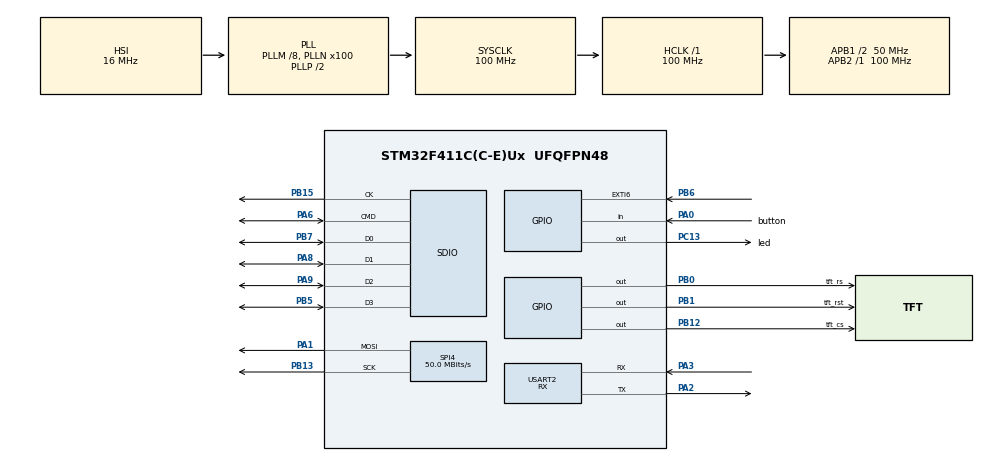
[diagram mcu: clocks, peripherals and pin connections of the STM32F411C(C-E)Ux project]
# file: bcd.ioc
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Dma.Request0=SPI4_TX
Dma.SPI4_TX.0.Direction=DMA_MEMORY_TO_PERIPH
Dma.SPI4_TX.0.FIFOMode=DMA_FIFOMODE_DISABLE
Dma.SPI4_TX.0.Instance=DMA2_Stream1
Dma.SPI4_TX.0.MemDataAlignment=DMA_MDATAALIGN_BYTE
Dma.SPI4_TX.0.MemInc=DMA_MINC_ENABLE
Dma.SPI4_TX.0.Mode=DMA_NORMAL
Dma.SPI4_TX.0.PeriphDataAlignment=DMA_PDATAALIGN_BYTE
Dma.SPI4_TX.0.PeriphInc=DMA_PINC_DISABLE
Dma.SPI4_TX.0.Priority=DMA_PRIORITY_LOW
FATFS._FS_EXFAT=1
FATFS._USE_LFN=1
Mcu.Family=STM32F4
Mcu.Name=STM32F411C(C-E)Ux
Mcu.Package=UFQFPN48
NVIC.DMA2_Stream1_IRQn=true\:0\:0\:false\:false\:true\:false\:true\:true
NVIC.EXTI9_5_IRQn=true\:0\:0\:false\:false\:true\:true\:true\:true
NVIC.PriorityGroup=NVIC_PRIORITYGROUP_4
PA0-WKUP.GPIO_Label=button
PA0-WKUP.GPIO_PuPd=GPIO_PULLUP
PA0-WKUP.Signal=GPIO_Input
PA1.Mode=TX_Only_Simplex_Unidirect_Master
PA1.Signal=SPI4_MOSI
PA13.Mode=Serial_Wire
PA13.Signal=SYS_JTMS-SWDIO
PA14.Mode=Serial_Wire
PA14.Signal=SYS_JTCK-SWCLK
PA2.Mode=Asynchronous
PA2.Signal=USART2_TX
PA3.Mode=Asynchronous
PA3.Signal=USART2_RX
PA6.Mode=SD_4_bits_Wide_bus
PA6.Signal=SDIO_CMD
PA8.Mode=SD_4_bits_Wide_bus
PA8.Signal=SDIO_D1
PA9.Mode=SD_4_bits_Wide_bus
PA9.Signal=SDIO_D2
PB0.GPIO_Label=tft_rs
PB0.Signal=GPIO_Output
PB1.GPIO_Label=tft_rst
PB1.Signal=GPIO_Output
PB12.GPIO_Label=tft_cs
PB12.Signal=GPIO_Output
PB13.Mode=TX_Only_Simplex_Unidirect_Master
PB13.Signal=SPI4_SCK
PB15.Mode=SD_4_bits_Wide_bus
PB15.Signal=SDIO_CK
PB5.Mode=SD_4_bits_Wide_bus
PB5.Signal=SDIO_D3
PB6.Signal=GPXTI6
PB7.Mode=SD_4_bits_Wide_bus
PB7.Signal=SDIO_D0
PC13-ANTI_TAMP.GPIO_Label=led
PC13-ANTI_TAMP.Signal=GPIO_Output
PC14-OSC32_IN.Mode=LSE-External-Oscillator
PC14-OSC32_IN.Signal=RCC_OSC32_IN
PC15-OSC32_OUT.Mode=LSE-External-Oscillator
PC15-OSC32_OUT.Signal=RCC_OSC32_OUT
PH0\ -\ OSC_IN.Mode=HSE-External-Oscillator
PH0\ -\ OSC_IN.Signal=RCC_OSC_IN
PH1\ -\ OSC_OUT.Mode=HSE-External-Oscillator
PH1\ -\ OSC_OUT.Signal=RCC_OSC_OUT
ProjectManager.HeapSize=0x200
ProjectManager.StackSize=0x400
ProjectManager.TargetToolchain=STM32CubeIDE
RCC.48MHZClocksFreq_Value=40000000
RCC.AHBFreq_Value=100000000
RCC.APB1CLKDivider=RCC_HCLK_DIV2
RCC.APB1Freq_Value=50000000
RCC.APB1TimFreq_Value=100000000
RCC.APB2Freq_Value=100000000
RCC.APB2TimFreq_Value=100000000
RCC.CortexFreq_Value=100000000
RCC.HCLKFreq_Value=100000000
RCC.HSE_VALUE=25000000
RCC.HSI_VALUE=16000000
RCC.PLLM=8
RCC.PLLN=100
RCC.PLLQ=5
RCC.SYSCLKFreq_VALUE=100000000
RCC.SYSCLKSource=RCC_SYSCLKSOURCE_PLLCLK
RCC.VCOOutputFreq_Value=200000000
SDIO.ClockBypass=SDIO_CLOCK_BYPASS_DISABLE
SDIO.ClockDiv=8
SPI4.BaudRatePrescaler=SPI_BAUDRATEPRESCALER_2
SPI4.CalculateBaudRate=50.0 MBits/s
SPI4.DataSize=SPI_DATASIZE_8BIT
SPI4.Direction=SPI_DIRECTION_2LINES
SPI4.Mode=SPI_MODE_MASTER
SPI4.VirtualType=VM_MASTER
USART2.Mode=MODE_RX
USART2.VirtualMode=VM_ASYNC
VP_FATFS_VS_SDIO.Mode=SDIO
board=custom

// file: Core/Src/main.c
/* USER CODE BEGIN Header */
/**
  ******************************************************************************
  * @file           : main.c
  * @brief          : Main program body
  ******************************************************************************
  * @attention
  *
  * Copyright (c) 2025 STMicroelectronics.
  * All rights reserved.
  *
  * This software is licensed under terms that can be found in the LICENSE file
  * in the root directory of this software component.
  * If no LICENSE file comes with this software, it is provided AS-IS.
  *
  ******************************************************************************
  */
/* USER CODE END Header */
#include "main.h"
#include "fatfs.h"

/* USER CODE BEGIN Includes */
#include "SEGGER_RTT.h"
#include "st7735.h"
#include "fonts.h"
#include "testimg.h"
#include <string.h>
/* USER CODE END Includes */

/* USER CODE BEGIN PD */
#define CYCLE_MAX_NUM_FILES 10
#define CYCLE_MAX_FILE_NAME 255

/* USER CODE END PD */

SD_HandleTypeDef hsd;

SPI_HandleTypeDef hspi4;
DMA_HandleTypeDef hdma_spi4_tx;

UART_HandleTypeDef huart2;

void SystemClock_Config(void);
static void MX_GPIO_Init(void);
static void MX_DMA_Init(void);
static void MX_SDIO_SD_Init(void);
static void MX_SPI4_Init(void);
static void MX_USART2_UART_Init(void);

/* USER CODE BEGIN 0 */
uint8_t BSP_SD_IsDetected(void)
{
  return SD_PRESENT;
}

volatile bool drawing_in_progress = false;
void HAL_SPI_TxCpltCallback(SPI_HandleTypeDef *hspi)
{
  drawing_in_progress = false;

#define ST7735_CS_Pin        GPIO_PIN_12
#define ST7735_CS_GPIO_Port  GPIOB
  HAL_GPIO_WritePin(ST7735_CS_GPIO_Port, ST7735_CS_Pin, GPIO_PIN_SET);
}

bool isButtonPressed()
{
  /* active low, pulled up */
  if (HAL_GPIO_ReadPin( GPIOA, GPIO_PIN_0 ) == GPIO_PIN_SET )
  {
    return false;

  }
  else
  {
    return true;
  }
}

/* USER CODE END 0 */

int main(void)
{

  /* USER CODE BEGIN 1 */
  SEGGER_RTT_ConfigUpBuffer(0, NULL, NULL, 0, SEGGER_RTT_MODE_NO_BLOCK_SKIP);

  SEGGER_RTT_printf(0, "Starting...\r\n");
  SEGGER_RTT_printf(0, "HAL_Init....");
  /* USER CODE END 1 */

  /* MCU Configuration--------------------------------------------------------*/

  /* Reset of all peripherals, Initializes the Flash interface and the Systick. */
  HAL_Init();

  /* USER CODE BEGIN Init */
  SEGGER_RTT_printf(0, "Done\r\n");
  SEGGER_RTT_printf(0, "SystemClock_Config....");
  /* USER CODE END 1 */
  /* USER CODE END 1 */

  /* USER CODE END Init */

  /* Configure the system clock */
  SystemClock_Config();

  /* USER CODE BEGIN SysInit */
  SEGGER_RTT_printf(0, "Done\r\n");
  SEGGER_RTT_printf(0, "Peripherals....");

  /* USER CODE END SysInit */

  /* Initialize all configured peripherals */
  MX_GPIO_Init();
  MX_DMA_Init();
  MX_SDIO_SD_Init();
  MX_FATFS_Init();
  MX_SPI4_Init();
  MX_USART2_UART_Init();
  /* USER CODE BEGIN 2 */

  SEGGER_RTT_printf(0, "Done\r\n");

  /* USER CODE END 2 */

  /* Infinite loop */
  /* USER CODE BEGIN WHILE */
  while (1)
  {
    app();
    /* USER CODE END WHILE */

    /* USER CODE BEGIN 3 */

  /* detect press event */

  /* service button press event */
  /* make sure */

  //ST7735_DrawImage(0, 0, 160, 128, (uint16_t*)(buf[buf_swap]));
  //SEGGER_RTT_printf(0, "f%dms\r\n", HAL_GetTick() - start_ms );
  // frame render is 20ms
  //buf_swap = (buf_swap + 1) % 2;
  //total_frames++;

    /* 1s task */
    //if( ( time_ms - last_toggle_ms) >= blink_duration_ms )
    //{
	   // HAL_GPIO_TogglePin(GPIOC, GPIO_PIN_13);
	   // //SEGGER_RTT_printf(0, "HELLO WORLD %d\r\n", time_ms);
    //  SEGGER_RTT_printf(0, "%uFPS\r\n", total_frames - last_total_frames);
    //  SEGGER_RTT_printf(0, "Read %uKBps\r\n", (bytes_read - last_bytes_read)/1000);
    //  last_toggle_ms = time_ms;
    //  last_bytes_read = bytes_read;
    //  last_total_frames = total_frames;
    //}
  }
  /* USER CODE END 3 */
}

void SystemClock_Config(void)
{
  RCC_OscInitTypeDef RCC_OscInitStruct = {0};
  RCC_ClkInitTypeDef RCC_ClkInitStruct = {0};

  /** Configure the main internal regulator output voltage
  */
  __HAL_RCC_PWR_CLK_ENABLE();
  __HAL_PWR_VOLTAGESCALING_CONFIG(PWR_REGULATOR_VOLTAGE_SCALE1);

  /** Initializes the RCC Oscillators according to the specified parameters
  * in the RCC_OscInitTypeDef structure.
  */
  RCC_OscInitStruct.OscillatorType = RCC_OSCILLATORTYPE_HSI;
  RCC_OscInitStruct.HSIState = RCC_HSI_ON;
  RCC_OscInitStruct.HSICalibrationValue = RCC_HSICALIBRATION_DEFAULT;
  RCC_OscInitStruct.PLL.PLLState = RCC_PLL_ON;
  RCC_OscInitStruct.PLL.PLLSource = RCC_PLLSOURCE_HSI;
  RCC_OscInitStruct.PLL.PLLM = 8;
  RCC_OscInitStruct.PLL.PLLN = 100;
  RCC_OscInitStruct.PLL.PLLP = RCC_PLLP_DIV2;
  RCC_OscInitStruct.PLL.PLLQ = 5;
  if (HAL_RCC_OscConfig(&RCC_OscInitStruct) != HAL_OK)
  {
    Error_Handler();
  }

  /** Initializes the CPU, AHB and APB buses clocks
  */
  RCC_ClkInitStruct.ClockType = RCC_CLOCKTYPE_HCLK|RCC_CLOCKTYPE_SYSCLK
                              |RCC_CLOCKTYPE_PCLK1|RCC_CLOCKTYPE_PCLK2;
  RCC_ClkInitStruct.SYSCLKSource = RCC_SYSCLKSOURCE_PLLCLK;
  RCC_ClkInitStruct.AHBCLKDivider = RCC_SYSCLK_DIV1;
  RCC_ClkInitStruct.APB1CLKDivider = RCC_HCLK_DIV2;
  RCC_ClkInitStruct.APB2CLKDivider = RCC_HCLK_DIV1;

  if (HAL_RCC_ClockConfig(&RCC_ClkInitStruct, FLASH_LATENCY_3) != HAL_OK)
  {
    Error_Handler();
  }
}

static void MX_SDIO_SD_Init(void)
{

  hsd.Instance = SDIO;
  hsd.Init.ClockEdge = SDIO_CLOCK_EDGE_RISING;
  hsd.Init.ClockBypass = SDIO_CLOCK_BYPASS_DISABLE;
  hsd.Init.ClockPowerSave = SDIO_CLOCK_POWER_SAVE_DISABLE;
  hsd.Init.BusWide = SDIO_BUS_WIDE_4B;
  hsd.Init.HardwareFlowControl = SDIO_HARDWARE_FLOW_CONTROL_DISABLE;
  hsd.Init.ClockDiv = 8;
  /* USER CODE BEGIN SDIO_Init 2 */
  hsd.Init.BusWide = SDIO_BUS_WIDE_1B;
  if (HAL_SD_Init(&hsd) != HAL_OK ){
    Error_Handler();
  }

  if ( HAL_SD_ConfigWideBusOperation(&hsd, SDIO_BUS_WIDE_4B)!= HAL_OK)
  {
    Error_Handler();
  }

  /* USER CODE END SDIO_Init 2 */

}

static void MX_SPI4_Init(void)
{

  /* SPI4 parameter configuration*/
  hspi4.Instance = SPI4;
  hspi4.Init.Mode = SPI_MODE_MASTER;
  hspi4.Init.Direction = SPI_DIRECTION_2LINES;
  hspi4.Init.DataSize = SPI_DATASIZE_8BIT;
  hspi4.Init.CLKPolarity = SPI_POLARITY_LOW;
  hspi4.Init.CLKPhase = SPI_PHASE_1EDGE;
  hspi4.Init.NSS = SPI_NSS_SOFT;
  hspi4.Init.BaudRatePrescaler = SPI_BAUDRATEPRESCALER_2;
  hspi4.Init.FirstBit = SPI_FIRSTBIT_MSB;
  hspi4.Init.TIMode = SPI_TIMODE_DISABLE;
  hspi4.Init.CRCCalculation = SPI_CRCCALCULATION_DISABLE;
  hspi4.Init.CRCPolynomial = 10;
  if (HAL_SPI_Init(&hspi4) != HAL_OK)
  {
    Error_Handler();
  }

}

static void MX_USART2_UART_Init(void)
{

  huart2.Instance = USART2;
  huart2.Init.BaudRate = 115200;
  huart2.Init.WordLength = UART_WORDLENGTH_8B;
  huart2.Init.StopBits = UART_STOPBITS_1;
  huart2.Init.Parity = UART_PARITY_NONE;
  huart2.Init.Mode = UART_MODE_RX;
  huart2.Init.HwFlowCtl = UART_HWCONTROL_NONE;
  huart2.Init.OverSampling = UART_OVERSAMPLING_16;
  if (HAL_UART_Init(&huart2) != HAL_OK)
  {
    Error_Handler();
  }

}

static void MX_DMA_Init(void)
{

  /* DMA controller clock enable */
  __HAL_RCC_DMA2_CLK_ENABLE();

  /* DMA interrupt init */
  /* DMA2_Stream1_IRQn interrupt configuration */
  HAL_NVIC_SetPriority(DMA2_Stream1_IRQn, 0, 0);
  HAL_NVIC_EnableIRQ(DMA2_Stream1_IRQn);

}

static void MX_GPIO_Init(void)
{
  GPIO_InitTypeDef GPIO_InitStruct = {0};

  /* GPIO Ports Clock Enable */
  __HAL_RCC_GPIOC_CLK_ENABLE();
  __HAL_RCC_GPIOH_CLK_ENABLE();
  __HAL_RCC_GPIOA_CLK_ENABLE();
  __HAL_RCC_GPIOB_CLK_ENABLE();

  /*Configure GPIO pin Output Level */
  HAL_GPIO_WritePin(led_GPIO_Port, led_Pin, GPIO_PIN_RESET);

  /*Configure GPIO pin Output Level */
  HAL_GPIO_WritePin(GPIOB, tft_rs_Pin|tft_rst_Pin|tft_cs_Pin, GPIO_PIN_RESET);

  /*Configure GPIO pin : led_Pin */
  GPIO_InitStruct.Pin = led_Pin;
  GPIO_InitStruct.Mode = GPIO_MODE_OUTPUT_PP;
  GPIO_InitStruct.Pull = GPIO_NOPULL;
  GPIO_InitStruct.Speed = GPIO_SPEED_FREQ_LOW;
  HAL_GPIO_Init(led_GPIO_Port, &GPIO_InitStruct);

  /*Configure GPIO pin : button_Pin */
  GPIO_InitStruct.Pin = button_Pin;
  GPIO_InitStruct.Mode = GPIO_MODE_INPUT;
  GPIO_InitStruct.Pull = GPIO_PULLUP;
  HAL_GPIO_Init(button_GPIO_Port, &GPIO_InitStruct);

  /*Configure GPIO pins : tft_rs_Pin tft_rst_Pin tft_cs_Pin */
  GPIO_InitStruct.Pin = tft_rs_Pin|tft_rst_Pin|tft_cs_Pin;
  GPIO_InitStruct.Mode = GPIO_MODE_OUTPUT_PP;
  GPIO_InitStruct.Pull = GPIO_NOPULL;
  GPIO_InitStruct.Speed = GPIO_SPEED_FREQ_LOW;
  HAL_GPIO_Init(GPIOB, &GPIO_InitStruct);

  /*Configure GPIO pin : PB6 */
  GPIO_InitStruct.Pin = GPIO_PIN_6;
  GPIO_InitStruct.Mode = GPIO_MODE_IT_RISING;
  GPIO_InitStruct.Pull = GPIO_NOPULL;
  HAL_GPIO_Init(GPIOB, &GPIO_InitStruct);

  /* EXTI interrupt init*/
  HAL_NVIC_SetPriority(EXTI9_5_IRQn, 0, 0);
  HAL_NVIC_EnableIRQ(EXTI9_5_IRQn);

}

void Error_Handler(void)
{
  __disable_irq();
  while (1)
  {
  }
}
